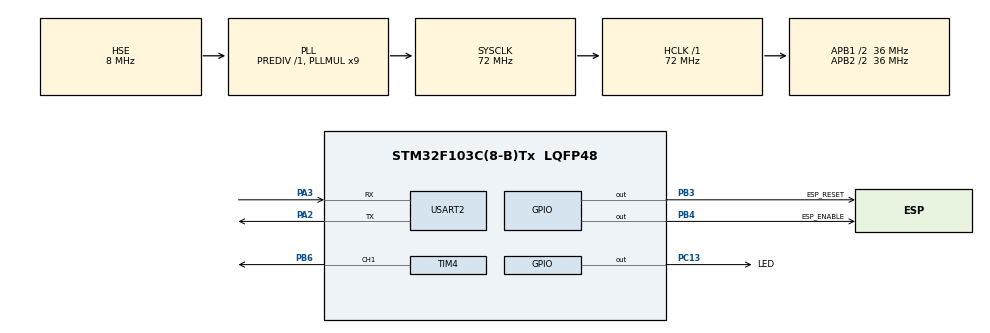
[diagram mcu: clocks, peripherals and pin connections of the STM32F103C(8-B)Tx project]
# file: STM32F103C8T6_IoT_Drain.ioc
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IWDG.Prescaler=IWDG_PRESCALER_256
IWDG.Reload=512
Mcu.Family=STM32F1
Mcu.Name=STM32F103C(8-B)Tx
Mcu.Package=LQFP48
NVIC.PriorityGroup=NVIC_PRIORITYGROUP_4
NVIC.TIM2_IRQn=true\:0\:0\:false\:false\:true\:true\:true\:true
NVIC.TIM3_IRQn=true\:0\:0\:false\:false\:true\:true\:true\:true
NVIC.USART2_IRQn=true\:0\:0\:false\:false\:true\:true\:true\:true
PA13.Mode=Serial_Wire
PA13.Signal=SYS_JTMS-SWDIO
PA14.Mode=Serial_Wire
PA14.Signal=SYS_JTCK-SWCLK
PA2.Mode=Asynchronous
PA2.Signal=USART2_TX
PA3.Mode=Asynchronous
PA3.Signal=USART2_RX
PB3.GPIO_Label=ESP_RESET
PB3.Signal=GPIO_Output
PB4.GPIO_Label=ESP_ENABLE
PB4.Signal=GPIO_Output
PB6.Signal=S_TIM4_CH1
PC13-TAMPER-RTC.GPIO_Label=LED
PC13-TAMPER-RTC.Signal=GPIO_Output
PD0-OSC_IN.Mode=HSE-External-Oscillator
PD0-OSC_IN.Signal=RCC_OSC_IN
PD1-OSC_OUT.Mode=HSE-External-Oscillator
PD1-OSC_OUT.Signal=RCC_OSC_OUT
ProjectManager.HeapSize=0x200
ProjectManager.StackSize=0x400
ProjectManager.TargetToolchain=STM32CubeIDE
RCC.AHBFreq_Value=72000000
RCC.APB1CLKDivider=RCC_HCLK_DIV2
RCC.APB1Freq_Value=36000000
RCC.APB1TimFreq_Value=72000000
RCC.APB2CLKDivider=RCC_HCLK_DIV2
RCC.APB2Freq_Value=36000000
RCC.APB2TimFreq_Value=72000000
RCC.HCLKFreq_Value=72000000
RCC.PLLMUL=RCC_PLL_MUL9
RCC.PLLSourceVirtual=RCC_PLLSOURCE_HSE
RCC.SYSCLKFreq_VALUE=72000000
RCC.SYSCLKSource=RCC_SYSCLKSOURCE_PLLCLK
RCC.USBFreq_Value=72000000
SH.S_TIM4_CH1.0=TIM4_CH1,PWM Generation1 CH1
TIM2.Period=199
TIM2.Prescaler=7200
TIM3.Period=9999
TIM3.Prescaler=7200
TIM4.Channel-PWM\ Generation1\ CH1=TIM_CHANNEL_1
TIM4.Period=19999
TIM4.Prescaler=72
TIM4.Pulse-PWM\ Generation1\ CH1=1792
USART2.VirtualMode=VM_ASYNC
VP_IWDG_VS_IWDG.Mode=IWDG_Activate
VP_TIM2_VS_ClockSourceINT.Mode=Internal
VP_TIM3_VS_ClockSourceINT.Mode=Internal
VP_TIM4_VS_ClockSourceINT.Mode=Internal
board=custom

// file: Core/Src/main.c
/* USER CODE BEGIN Header */
/**
  ******************************************************************************
  * @file           : main.c
  * @brief          : Main program body
  ******************************************************************************
  * @attention
  *
  * Copyright (c) 2022 STMicroelectronics.
  * All rights reserved.
  *
  * This software is licensed under terms that can be found in the LICENSE file
  * in the root directory of this software component.
  * If no LICENSE file comes with this software, it is provided AS-IS.
  *
  ******************************************************************************
  */
/* USER CODE END Header */
#include "main.h"

/* USER CODE BEGIN Includes */
#include "myLibrary.h"
/* USER CODE END Includes */

IWDG_HandleTypeDef hiwdg;

TIM_HandleTypeDef htim2;
TIM_HandleTypeDef htim3;
TIM_HandleTypeDef htim4;

UART_HandleTypeDef huart2;

void SystemClock_Config(void);
static void MX_GPIO_Init(void);
static void MX_TIM2_Init(void);
static void MX_TIM3_Init(void);
static void MX_USART2_UART_Init(void);
static void MX_TIM4_Init(void);
static void MX_IWDG_Init(void);

int main(void)
{

  /* MCU Configuration--------------------------------------------------------*/

  /* Reset of all peripherals, Initializes the Flash interface and the Systick. */
  HAL_Init();

  /* Configure the system clock */
  SystemClock_Config();

  /* Initialize all configured peripherals */
  MX_GPIO_Init();
  MX_TIM2_Init();
  MX_TIM3_Init();
  MX_USART2_UART_Init();
  MX_TIM4_Init();
  MX_IWDG_Init();
  /* USER CODE BEGIN 2 */
	//WatchDog set to 3.2768 seconds
	IWDG->KR = 0xAAAA;//Reset WatchDog
	IWDG->KR = 0xCCCC;//Start WatchDog
	HAL_TIM_Base_Start_IT(&htim2);// 20 milliseconds - interrupt
	HAL_TIM_Base_Start_IT(&htim3);// 1 second - interrupt
	HAL_TIM_Base_Start(&htim4);// 20 ms PWM
	HAL_TIM_PWM_Start(&htim4, TIM_CHANNEL_1);
	openDrain();
	__HAL_UART_ENABLE_IT(&huart2, UART_IT_RXNE);
	ESP_Server_Init();
  /* USER CODE END 2 */

  /* Infinite loop */
  while (1)
  {

    /* USER CODE BEGIN 3 */
	  IWDG->KR = 0xAAAA;//Reset WatchDog

	  if(messageHandlerFlag)
	  {
		  messageHandler();
		  messageHandlerFlag = 0;
	  }

	  if(seconds > 604800)// 7 days
		  NVIC_SystemReset();
  }
  /* USER CODE END 3 */
}

void SystemClock_Config(void)
{
  RCC_OscInitTypeDef RCC_OscInitStruct = {0};
  RCC_ClkInitTypeDef RCC_ClkInitStruct = {0};

  /** Initializes the RCC Oscillators according to the specified parameters
  * in the RCC_OscInitTypeDef structure.
  */
  RCC_OscInitStruct.OscillatorType = RCC_OSCILLATORTYPE_LSI|RCC_OSCILLATORTYPE_HSE;
  RCC_OscInitStruct.HSEState = RCC_HSE_ON;
  RCC_OscInitStruct.HSEPredivValue = RCC_HSE_PREDIV_DIV1;
  RCC_OscInitStruct.HSIState = RCC_HSI_ON;
  RCC_OscInitStruct.LSIState = RCC_LSI_ON;
  RCC_OscInitStruct.PLL.PLLState = RCC_PLL_ON;
  RCC_OscInitStruct.PLL.PLLSource = RCC_PLLSOURCE_HSE;
  RCC_OscInitStruct.PLL.PLLMUL = RCC_PLL_MUL9;
  if (HAL_RCC_OscConfig(&RCC_OscInitStruct) != HAL_OK)
  {
    Error_Handler();
  }

  /** Initializes the CPU, AHB and APB buses clocks
  */
  RCC_ClkInitStruct.ClockType = RCC_CLOCKTYPE_HCLK|RCC_CLOCKTYPE_SYSCLK
                              |RCC_CLOCKTYPE_PCLK1|RCC_CLOCKTYPE_PCLK2;
  RCC_ClkInitStruct.SYSCLKSource = RCC_SYSCLKSOURCE_PLLCLK;
  RCC_ClkInitStruct.AHBCLKDivider = RCC_SYSCLK_DIV1;
  RCC_ClkInitStruct.APB1CLKDivider = RCC_HCLK_DIV2;
  RCC_ClkInitStruct.APB2CLKDivider = RCC_HCLK_DIV2;

  if (HAL_RCC_ClockConfig(&RCC_ClkInitStruct, FLASH_LATENCY_2) != HAL_OK)
  {
    Error_Handler();
  }
}

static void MX_IWDG_Init(void)
{

  hiwdg.Instance = IWDG;
  hiwdg.Init.Prescaler = IWDG_PRESCALER_256;
  hiwdg.Init.Reload = 512;
  if (HAL_IWDG_Init(&hiwdg) != HAL_OK)
  {
    Error_Handler();
  }

}

static void MX_TIM2_Init(void)
{

  TIM_ClockConfigTypeDef sClockSourceConfig = {0};
  TIM_MasterConfigTypeDef sMasterConfig = {0};

  htim2.Instance = TIM2;
  htim2.Init.Prescaler = 7200;
  htim2.Init.CounterMode = TIM_COUNTERMODE_UP;
  htim2.Init.Period = 199;
  htim2.Init.ClockDivision = TIM_CLOCKDIVISION_DIV1;
  htim2.Init.AutoReloadPreload = TIM_AUTORELOAD_PRELOAD_DISABLE;
  if (HAL_TIM_Base_Init(&htim2) != HAL_OK)
  {
    Error_Handler();
  }
  sClockSourceConfig.ClockSource = TIM_CLOCKSOURCE_INTERNAL;
  if (HAL_TIM_ConfigClockSource(&htim2, &sClockSourceConfig) != HAL_OK)
  {
    Error_Handler();
  }
  sMasterConfig.MasterOutputTrigger = TIM_TRGO_RESET;
  sMasterConfig.MasterSlaveMode = TIM_MASTERSLAVEMODE_DISABLE;
  if (HAL_TIMEx_MasterConfigSynchronization(&htim2, &sMasterConfig) != HAL_OK)
  {
    Error_Handler();
  }

}

static void MX_TIM3_Init(void)
{

  TIM_ClockConfigTypeDef sClockSourceConfig = {0};
  TIM_MasterConfigTypeDef sMasterConfig = {0};

  htim3.Instance = TIM3;
  htim3.Init.Prescaler = 7200;
  htim3.Init.CounterMode = TIM_COUNTERMODE_UP;
  htim3.Init.Period = 9999;
  htim3.Init.ClockDivision = TIM_CLOCKDIVISION_DIV1;
  htim3.Init.AutoReloadPreload = TIM_AUTORELOAD_PRELOAD_DISABLE;
  if (HAL_TIM_Base_Init(&htim3) != HAL_OK)
  {
    Error_Handler();
  }
  sClockSourceConfig.ClockSource = TIM_CLOCKSOURCE_INTERNAL;
  if (HAL_TIM_ConfigClockSource(&htim3, &sClockSourceConfig) != HAL_OK)
  {
    Error_Handler();
  }
  sMasterConfig.MasterOutputTrigger = TIM_TRGO_RESET;
  sMasterConfig.MasterSlaveMode = TIM_MASTERSLAVEMODE_DISABLE;
  if (HAL_TIMEx_MasterConfigSynchronization(&htim3, &sMasterConfig) != HAL_OK)
  {
    Error_Handler();
  }

}

static void MX_TIM4_Init(void)
{

  TIM_ClockConfigTypeDef sClockSourceConfig = {0};
  TIM_MasterConfigTypeDef sMasterConfig = {0};
  TIM_OC_InitTypeDef sConfigOC = {0};

  htim4.Instance = TIM4;
  htim4.Init.Prescaler = 72;
  htim4.Init.CounterMode = TIM_COUNTERMODE_UP;
  htim4.Init.Period = 19999;
  htim4.Init.ClockDivision = TIM_CLOCKDIVISION_DIV1;
  htim4.Init.AutoReloadPreload = TIM_AUTORELOAD_PRELOAD_DISABLE;
  if (HAL_TIM_Base_Init(&htim4) != HAL_OK)
  {
    Error_Handler();
  }
  sClockSourceConfig.ClockSource = TIM_CLOCKSOURCE_INTERNAL;
  if (HAL_TIM_ConfigClockSource(&htim4, &sClockSourceConfig) != HAL_OK)
  {
    Error_Handler();
  }
  if (HAL_TIM_PWM_Init(&htim4) != HAL_OK)
  {
    Error_Handler();
  }
  sMasterConfig.MasterOutputTrigger = TIM_TRGO_RESET;
  sMasterConfig.MasterSlaveMode = TIM_MASTERSLAVEMODE_DISABLE;
  if (HAL_TIMEx_MasterConfigSynchronization(&htim4, &sMasterConfig) != HAL_OK)
  {
    Error_Handler();
  }
  sConfigOC.OCMode = TIM_OCMODE_PWM1;
  sConfigOC.Pulse = 1792;
  sConfigOC.OCPolarity = TIM_OCPOLARITY_HIGH;
  sConfigOC.OCFastMode = TIM_OCFAST_DISABLE;
  if (HAL_TIM_PWM_ConfigChannel(&htim4, &sConfigOC, TIM_CHANNEL_1) != HAL_OK)
  {
    Error_Handler();
  }
  HAL_TIM_MspPostInit(&htim4);

}

static void MX_USART2_UART_Init(void)
{

  huart2.Instance = USART2;
  huart2.Init.BaudRate = 115200;
  huart2.Init.WordLength = UART_WORDLENGTH_8B;
  huart2.Init.StopBits = UART_STOPBITS_1;
  huart2.Init.Parity = UART_PARITY_NONE;
  huart2.Init.Mode = UART_MODE_TX_RX;
  huart2.Init.HwFlowCtl = UART_HWCONTROL_NONE;
  huart2.Init.OverSampling = UART_OVERSAMPLING_16;
  if (HAL_UART_Init(&huart2) != HAL_OK)
  {
    Error_Handler();
  }

}

static void MX_GPIO_Init(void)
{
  GPIO_InitTypeDef GPIO_InitStruct = {0};

  /* GPIO Ports Clock Enable */
  __HAL_RCC_GPIOC_CLK_ENABLE();
  __HAL_RCC_GPIOD_CLK_ENABLE();
  __HAL_RCC_GPIOA_CLK_ENABLE();
  __HAL_RCC_GPIOB_CLK_ENABLE();

  /*Configure GPIO pin Output Level */
  HAL_GPIO_WritePin(LED_GPIO_Port, LED_Pin, GPIO_PIN_RESET);

  /*Configure GPIO pin Output Level */
  HAL_GPIO_WritePin(GPIOB, ESP_RESET_Pin|ESP_ENABLE_Pin, GPIO_PIN_RESET);

  /*Configure GPIO pin : LED_Pin */
  GPIO_InitStruct.Pin = LED_Pin;
  GPIO_InitStruct.Mode = GPIO_MODE_OUTPUT_PP;
  GPIO_InitStruct.Pull = GPIO_NOPULL;
  GPIO_InitStruct.Speed = GPIO_SPEED_FREQ_LOW;
  HAL_GPIO_Init(LED_GPIO_Port, &GPIO_InitStruct);

  /*Configure GPIO pins : ESP_RESET_Pin ESP_ENABLE_Pin */
  GPIO_InitStruct.Pin = ESP_RESET_Pin|ESP_ENABLE_Pin;
  GPIO_InitStruct.Mode = GPIO_MODE_OUTPUT_PP;
  GPIO_InitStruct.Pull = GPIO_NOPULL;
  GPIO_InitStruct.Speed = GPIO_SPEED_FREQ_LOW;
  HAL_GPIO_Init(GPIOB, &GPIO_InitStruct);

}

void Error_Handler(void)
{
  __disable_irq();
  while (1)
  {
  }
}
